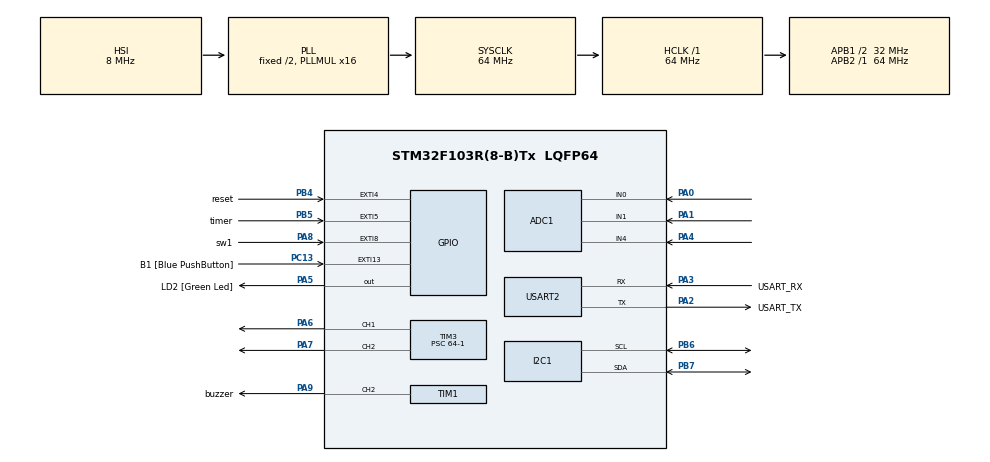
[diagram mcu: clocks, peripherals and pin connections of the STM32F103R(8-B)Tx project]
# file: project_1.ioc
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ADC1.Channel-0\#ChannelRegularConversion=ADC_CHANNEL_0
ADC1.Channel-1\#ChannelRegularConversion=ADC_CHANNEL_1
ADC1.Channel-2\#ChannelRegularConversion=ADC_CHANNEL_4
ADC1.ContinuousConvMode=ENABLE
ADC1.NbrOfConversion=3
ADC1.NbrOfConversionFlag=1
ADC1.Rank-0\#ChannelRegularConversion=1
ADC1.Rank-1\#ChannelRegularConversion=2
ADC1.Rank-2\#ChannelRegularConversion=3
ADC1.SamplingTime-0\#ChannelRegularConversion=ADC_SAMPLETIME_239CYCLES_5
ADC1.SamplingTime-1\#ChannelRegularConversion=ADC_SAMPLETIME_239CYCLES_5
ADC1.SamplingTime-2\#ChannelRegularConversion=ADC_SAMPLETIME_239CYCLES_5
ADC1.master=1
Dma.ADC1.0.Direction=DMA_PERIPH_TO_MEMORY
Dma.ADC1.0.Instance=DMA1_Channel1
Dma.ADC1.0.MemDataAlignment=DMA_MDATAALIGN_WORD
Dma.ADC1.0.MemInc=DMA_MINC_ENABLE
Dma.ADC1.0.Mode=DMA_CIRCULAR
Dma.ADC1.0.PeriphDataAlignment=DMA_PDATAALIGN_WORD
Dma.ADC1.0.PeriphInc=DMA_PINC_DISABLE
Dma.ADC1.0.Priority=DMA_PRIORITY_LOW
Dma.Request0=ADC1
Mcu.Family=STM32F1
Mcu.Name=STM32F103R(8-B)Tx
Mcu.Package=LQFP64
NVIC.DMA1_Channel1_IRQn=true\:0\:0\:false\:false\:true\:false\:true\:true
NVIC.EXTI15_10_IRQn=true\:0\:0\:false\:false\:true\:true\:true\:true
NVIC.EXTI4_IRQn=true\:0\:0\:false\:false\:true\:true\:true\:true
NVIC.EXTI9_5_IRQn=true\:0\:0\:false\:false\:true\:true\:true\:true
NVIC.PriorityGroup=NVIC_PRIORITYGROUP_4
NVIC.TIM2_IRQn=true\:0\:0\:false\:false\:true\:true\:true\:true
NVIC.TIM3_IRQn=true\:0\:0\:false\:false\:true\:true\:true\:true
PA0-WKUP.Signal=ADCx_IN0
PA1.Signal=ADCx_IN1
PA13.GPIO_Label=TMS
PA13.Mode=Serial_Wire
PA13.Signal=SYS_JTMS-SWDIO
PA14.GPIO_Label=TCK
PA14.Mode=Serial_Wire
PA14.Signal=SYS_JTCK-SWCLK
PA2.GPIO_Label=USART_TX
PA2.GPIO_Mode=GPIO_MODE_AF_PP
PA2.GPIO_PuPd=GPIO_NOPULL
PA2.GPIO_Speed=GPIO_SPEED_FREQ_LOW
PA2.Mode=Asynchronous
PA2.Signal=USART2_TX
PA3.GPIO_Label=USART_RX
PA3.GPIO_Mode=GPIO_MODE_AF_PP
PA3.GPIO_PuPd=GPIO_NOPULL
PA3.GPIO_Speed=GPIO_SPEED_FREQ_LOW
PA3.Mode=Asynchronous
PA3.Signal=USART2_RX
PA4.Signal=ADCx_IN4
PA5.GPIO_Label=LD2 [Green Led]
PA5.GPIO_ModeDefaultOutputPP=GPIO_MODE_OUTPUT_PP
PA5.GPIO_PuPd=GPIO_NOPULL
PA5.GPIO_Speed=GPIO_SPEED_FREQ_LOW
PA5.Signal=GPIO_Output
PA6.Signal=S_TIM3_CH1
PA7.Signal=S_TIM3_CH2
PA8.GPIO_Label=sw1
PA8.Signal=GPXTI8
PA9.GPIO_Label=buzzer
PA9.Signal=S_TIM1_CH2
PB3.GPIO_Label=SWO
PB3.Signal=SYS_JTDO-TRACESWO
PB4.GPIO_Label=reset
PB4.Signal=GPXTI4
PB5.GPIO_Label=timer
PB5.GPIO_ModeDefaultEXTI=GPIO_MODE_IT_FALLING
PB5.Signal=GPXTI5
PB6.Mode=I2C
PB6.Signal=I2C1_SCL
PB7.Mode=I2C
PB7.Signal=I2C1_SDA
PC13-TAMPER-RTC.GPIO_Label=B1 [Blue PushButton]
PC13-TAMPER-RTC.GPIO_PuPd=GPIO_NOPULL
PC13-TAMPER-RTC.Signal=GPXTI13
PC14-OSC32_IN.Mode=LSE-External-Oscillator
PC14-OSC32_IN.Signal=RCC_OSC32_IN
PC15-OSC32_OUT.Mode=LSE-External-Oscillator
PC15-OSC32_OUT.Signal=RCC_OSC32_OUT
PD0-OSC_IN.Mode=HSE-External-Clock-Source
PD0-OSC_IN.Signal=RCC_OSC_IN
PD1-OSC_OUT.Mode=HSE-External-Clock-Source
PD1-OSC_OUT.Signal=RCC_OSC_OUT
ProjectManager.HeapSize=0x200
ProjectManager.StackSize=0x400
ProjectManager.TargetToolchain=STM32CubeIDE
RCC.ADCPresc=RCC_ADCPCLK2_DIV8
RCC.AHBFreq_Value=64000000
RCC.APB1CLKDivider=RCC_HCLK_DIV2
RCC.APB1Freq_Value=32000000
RCC.APB1TimFreq_Value=64000000
RCC.APB2Freq_Value=64000000
RCC.APB2TimFreq_Value=64000000
RCC.HCLKFreq_Value=64000000
RCC.PLLMUL=RCC_PLL_MUL16
RCC.RTCClockSelection=RCC_RTCCLKSOURCE_LSE
RCC.SYSCLKFreq_VALUE=64000000
RCC.SYSCLKSource=RCC_SYSCLKSOURCE_PLLCLK
RCC.USBFreq_Value=64000000
SH.ADCx_IN0.0=ADC1_IN0,IN0
SH.ADCx_IN1.0=ADC1_IN1,IN1
SH.ADCx_IN4.0=ADC1_IN4,IN4
SH.S_TIM1_CH2.0=TIM1_CH2,PWM Generation2 CH2
SH.S_TIM3_CH1.0=TIM3_CH1,PWM Generation1 CH1
SH.S_TIM3_CH2.0=TIM3_CH2,PWM Generation2 CH2
TIM1.Channel-PWM\ Generation2\ CH2=TIM_CHANNEL_2
TIM1.OCPolarity_2=TIM_OCPOLARITY_HIGH
TIM1.Period=50000-1
TIM1.Prescaler=640-1
TIM1.Pulse-PWM\ Generation2\ CH2=0
TIM2.Channel-Output\ Compare1\ No\ Output=TIM_CHANNEL_1
TIM2.Period=10000-1
TIM2.Prescaler=6400-1
TIM2.Pulse-Output\ Compare1\ No\ Output=10000-1
TIM3.Channel-PWM\ Generation1\ CH1=TIM_CHANNEL_1
TIM3.Channel-PWM\ Generation2\ CH2=TIM_CHANNEL_2
TIM3.Period=20000-1
TIM3.Prescaler=64-1
TIM3.Pulse-PWM\ Generation1\ CH1=2000-1
TIM3.Pulse-PWM\ Generation2\ CH2=2000-1
USART2.VirtualMode=VM_ASYNC
VP_TIM1_VS_ClockSourceINT.Mode=Internal
VP_TIM2_VS_ClockSourceINT.Mode=Internal
VP_TIM2_VS_no_output1.Mode=Output Compare1 No Output
VP_TIM3_VS_ClockSourceINT.Mode=Internal
board=NUCLEO-F103RB

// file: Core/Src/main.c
/* USER CODE BEGIN Header */
/**
  ******************************************************************************
  * @file           : main.c
  * @brief          : Main program body
  ******************************************************************************
  * @attention
  *
  * Copyright (c) 2022 STMicroelectronics.
  * All rights reserved.
  *
  * This software is licensed under terms that can be found in the LICENSE file
  * in the root directory of this software component.
  * If no LICENSE file comes with this software, it is provided AS-IS.
  *
  ******************************************************************************
  */
/* USER CODE END Header */
#include "main.h"

/* USER CODE BEGIN Includes */
#include "i2c-lcd.h"
#include "stdio.h"
/* USER CODE END Includes */

 ADC_HandleTypeDef hadc1;
DMA_HandleTypeDef hdma_adc1;

I2C_HandleTypeDef hi2c1;

TIM_HandleTypeDef htim1;
TIM_HandleTypeDef htim2;
TIM_HandleTypeDef htim3;

UART_HandleTypeDef huart2;

/* USER CODE BEGIN PV */
//----------------------------------- Gyro sensor------------------------------------
long map(long x, long in_min, long in_max, long out_min, long out_max)
	 {
	  return (x - in_min) * (out_max - out_min) / (in_max - in_min) + out_min;
	 }

int adc_value[3];

int xAng = 0;
int yAng = 0;
int zAng = 0;

void mapping()
{
	xAng = map(adc_value[0], 1554, 2356, -90, 90);
	yAng = map(adc_value[1], 1544, 2378, -90, 90);
	zAng = map(adc_value[2], 1723, 3346, -90, 90);
}

//-------------------------------------------------------------------------------------

//------------------------------------ Count down------------------------------------
uint8_t sec = 15;
uint8_t flag_sw1;
char Sec[10];
//------------------------------------------------------------------------------------

//------------------------------------ Servo motor ------------------------------------
void servoReady()
{
	__HAL_TIM_SetCompare(&htim3, TIM_CHANNEL_1, 1750); //Servo1 1ms PWM - 90defree
	__HAL_TIM_SetCompare(&htim3, TIM_CHANNEL_2, 1250); //setvo2 1ms PWM - 0defree
}

void servoBoom()
{
	__HAL_TIM_SetCompare(&htim3, TIM_CHANNEL_1, 1000);
	__HAL_TIM_SetCompare(&htim3, TIM_CHANNEL_2, 2000);
}
//------------------------------------------------------------------------------------

//-----------------------------------Buzzer------------------------------------------

int time = 10;
int state = 0;

//------------------------------------------------------------------------------------

//------------------------------------------------------------------------------------
void start()
{
	lcd_init();
	HAL_TIM_Base_Start_IT(&htim2); // LCD
	HAL_TIM_OC_Start_IT(&htim2, TIM_CHANNEL_1); // LCD
	HAL_TIM_PWM_Start_IT(&htim1, TIM_CHANNEL_2); // buzzer
	HAL_TIM_PWM_Start(&htim3, TIM_CHANNEL_1); // setvo1 motor
	HAL_TIM_PWM_Start(&htim3, TIM_CHANNEL_2); // setvo2 motor
	HAL_ADC_Start_DMA(&hadc1, adc_value, 3); // Gyro
}
//------------------------------------------------------------------------------------

/* USER CODE END PV */

void SystemClock_Config(void);
static void MX_GPIO_Init(void);
static void MX_USART2_UART_Init(void);
static void MX_I2C1_Init(void);
static void MX_DMA_Init(void);
static void MX_TIM3_Init(void);
static void MX_ADC1_Init(void);
static void MX_TIM2_Init(void);
static void MX_TIM1_Init(void);

/* USER CODE BEGIN 0 */

//---------------------------------------- putty------------------------------------
#ifdef __GNUC__
/* With GCC, small printf (option LD Linker->Libraries->Small printf
   set to 'Yes') calls __io_putchar() */
#define PUTCHAR_PROTOTYPE int __io_putchar(int ch)
#else
#define PUTCHAR_PROTOTYPE int fputc(int ch, FILE *f)
#endif /* __GNUC__ */

PUTCHAR_PROTOTYPE
{
  /* Place your implementation of fputc here */
  /* e.g. write a character to the USART1 and Loop until the end of transmission */
  HAL_UART_Transmit(&huart2, (uint8_t *)&ch, 1, 0xFFFF);

  return ch;
}

//------------------------------------------------------------------------------

/* USER CODE END 0 */

int main(void)
{

  /* MCU Configuration--------------------------------------------------------*/

  /* Reset of all peripherals, Initializes the Flash interface and the Systick. */
  HAL_Init();

  /* Configure the system clock */
  SystemClock_Config();

  /* Initialize all configured peripherals */
  MX_GPIO_Init();
  MX_USART2_UART_Init();
  MX_I2C1_Init();
  MX_DMA_Init();
  MX_TIM3_Init();
  MX_ADC1_Init();
  MX_TIM2_Init();
  MX_TIM1_Init();
  /* USER CODE BEGIN 2 */

  start();
  servoReady();

  /* USER CODE END 2 */

  /* Infinite loop */
  /* USER CODE BEGIN WHILE */
  while (1)
  {
	  //-------------------------------- Gyro -----------
	  mapping(); //Gyro mappoing

	  printf("X_Value : %ld, Y_Value : %ld,  Z_Value : %ld\r\n", xAng, yAng, zAng); //putty
	  HAL_Delay(200);

	  if(xAng > 80) //Gyro -> count down start
	  {
		  flag_sw1 = 1;
	  }
	  //--------------------------------------------------

    /* USER CODE END WHILE */

  }
}

void SystemClock_Config(void)
{
  RCC_OscInitTypeDef RCC_OscInitStruct = {0};
  RCC_ClkInitTypeDef RCC_ClkInitStruct = {0};
  RCC_PeriphCLKInitTypeDef PeriphClkInit = {0};

  /** Initializes the RCC Oscillators according to the specified parameters
  * in the RCC_OscInitTypeDef structure.
  */
  RCC_OscInitStruct.OscillatorType = RCC_OSCILLATORTYPE_HSI;
  RCC_OscInitStruct.HSIState = RCC_HSI_ON;
  RCC_OscInitStruct.HSICalibrationValue = RCC_HSICALIBRATION_DEFAULT;
  RCC_OscInitStruct.PLL.PLLState = RCC_PLL_ON;
  RCC_OscInitStruct.PLL.PLLSource = RCC_PLLSOURCE_HSI_DIV2;
  RCC_OscInitStruct.PLL.PLLMUL = RCC_PLL_MUL16;
  if (HAL_RCC_OscConfig(&RCC_OscInitStruct) != HAL_OK)
  {
    Error_Handler();
  }

  /** Initializes the CPU, AHB and APB buses clocks
  */
  RCC_ClkInitStruct.ClockType = RCC_CLOCKTYPE_HCLK|RCC_CLOCKTYPE_SYSCLK
                              |RCC_CLOCKTYPE_PCLK1|RCC_CLOCKTYPE_PCLK2;
  RCC_ClkInitStruct.SYSCLKSource = RCC_SYSCLKSOURCE_PLLCLK;
  RCC_ClkInitStruct.AHBCLKDivider = RCC_SYSCLK_DIV1;
  RCC_ClkInitStruct.APB1CLKDivider = RCC_HCLK_DIV2;
  RCC_ClkInitStruct.APB2CLKDivider = RCC_HCLK_DIV1;

  if (HAL_RCC_ClockConfig(&RCC_ClkInitStruct, FLASH_LATENCY_2) != HAL_OK)
  {
    Error_Handler();
  }
  PeriphClkInit.PeriphClockSelection = RCC_PERIPHCLK_ADC;
  PeriphClkInit.AdcClockSelection = RCC_ADCPCLK2_DIV8;
  if (HAL_RCCEx_PeriphCLKConfig(&PeriphClkInit) != HAL_OK)
  {
    Error_Handler();
  }
}

static void MX_ADC1_Init(void)
{

  ADC_ChannelConfTypeDef sConfig = {0};

  /** Common config
  */
  hadc1.Instance = ADC1;
  hadc1.Init.ScanConvMode = ADC_SCAN_ENABLE;
  hadc1.Init.ContinuousConvMode = ENABLE;
  hadc1.Init.DiscontinuousConvMode = DISABLE;
  hadc1.Init.ExternalTrigConv = ADC_SOFTWARE_START;
  hadc1.Init.DataAlign = ADC_DATAALIGN_RIGHT;
  hadc1.Init.NbrOfConversion = 3;
  if (HAL_ADC_Init(&hadc1) != HAL_OK)
  {
    Error_Handler();
  }

  /** Configure Regular Channel
  */
  sConfig.Channel = ADC_CHANNEL_0;
  sConfig.Rank = ADC_REGULAR_RANK_1;
  sConfig.SamplingTime = ADC_SAMPLETIME_239CYCLES_5;
  if (HAL_ADC_ConfigChannel(&hadc1, &sConfig) != HAL_OK)
  {
    Error_Handler();
  }

  /** Configure Regular Channel
  */
  sConfig.Channel = ADC_CHANNEL_1;
  sConfig.Rank = ADC_REGULAR_RANK_2;
  if (HAL_ADC_ConfigChannel(&hadc1, &sConfig) != HAL_OK)
  {
    Error_Handler();
  }

  /** Configure Regular Channel
  */
  sConfig.Channel = ADC_CHANNEL_4;
  sConfig.Rank = ADC_REGULAR_RANK_3;
  if (HAL_ADC_ConfigChannel(&hadc1, &sConfig) != HAL_OK)
  {
    Error_Handler();
  }

}

static void MX_I2C1_Init(void)
{

  hi2c1.Instance = I2C1;
  hi2c1.Init.ClockSpeed = 100000;
  hi2c1.Init.DutyCycle = I2C_DUTYCYCLE_2;
  hi2c1.Init.OwnAddress1 = 0;
  hi2c1.Init.AddressingMode = I2C_ADDRESSINGMODE_7BIT;
  hi2c1.Init.DualAddressMode = I2C_DUALADDRESS_DISABLE;
  hi2c1.Init.OwnAddress2 = 0;
  hi2c1.Init.GeneralCallMode = I2C_GENERALCALL_DISABLE;
  hi2c1.Init.NoStretchMode = I2C_NOSTRETCH_DISABLE;
  if (HAL_I2C_Init(&hi2c1) != HAL_OK)
  {
    Error_Handler();
  }

}

static void MX_TIM1_Init(void)
{

  TIM_ClockConfigTypeDef sClockSourceConfig = {0};
  TIM_MasterConfigTypeDef sMasterConfig = {0};
  TIM_OC_InitTypeDef sConfigOC = {0};
  TIM_BreakDeadTimeConfigTypeDef sBreakDeadTimeConfig = {0};

  htim1.Instance = TIM1;
  htim1.Init.Prescaler = 640-1;
  htim1.Init.CounterMode = TIM_COUNTERMODE_UP;
  htim1.Init.Period = 50000-1;
  htim1.Init.ClockDivision = TIM_CLOCKDIVISION_DIV1;
  htim1.Init.RepetitionCounter = 0;
  htim1.Init.AutoReloadPreload = TIM_AUTORELOAD_PRELOAD_DISABLE;
  if (HAL_TIM_Base_Init(&htim1) != HAL_OK)
  {
    Error_Handler();
  }
  sClockSourceConfig.ClockSource = TIM_CLOCKSOURCE_INTERNAL;
  if (HAL_TIM_ConfigClockSource(&htim1, &sClockSourceConfig) != HAL_OK)
  {
    Error_Handler();
  }
  if (HAL_TIM_PWM_Init(&htim1) != HAL_OK)
  {
    Error_Handler();
  }
  sMasterConfig.MasterOutputTrigger = TIM_TRGO_RESET;
  sMasterConfig.MasterSlaveMode = TIM_MASTERSLAVEMODE_DISABLE;
  if (HAL_TIMEx_MasterConfigSynchronization(&htim1, &sMasterConfig) != HAL_OK)
  {
    Error_Handler();
  }
  sConfigOC.OCMode = TIM_OCMODE_PWM1;
  sConfigOC.Pulse = 0;
  sConfigOC.OCPolarity = TIM_OCPOLARITY_HIGH;
  sConfigOC.OCNPolarity = TIM_OCNPOLARITY_HIGH;
  sConfigOC.OCFastMode = TIM_OCFAST_DISABLE;
  sConfigOC.OCIdleState = TIM_OCIDLESTATE_RESET;
  sConfigOC.OCNIdleState = TIM_OCNIDLESTATE_RESET;
  if (HAL_TIM_PWM_ConfigChannel(&htim1, &sConfigOC, TIM_CHANNEL_2) != HAL_OK)
  {
    Error_Handler();
  }
  sBreakDeadTimeConfig.OffStateRunMode = TIM_OSSR_DISABLE;
  sBreakDeadTimeConfig.OffStateIDLEMode = TIM_OSSI_DISABLE;
  sBreakDeadTimeConfig.LockLevel = TIM_LOCKLEVEL_OFF;
  sBreakDeadTimeConfig.DeadTime = 0;
  sBreakDeadTimeConfig.BreakState = TIM_BREAK_DISABLE;
  sBreakDeadTimeConfig.BreakPolarity = TIM_BREAKPOLARITY_HIGH;
  sBreakDeadTimeConfig.AutomaticOutput = TIM_AUTOMATICOUTPUT_DISABLE;
  if (HAL_TIMEx_ConfigBreakDeadTime(&htim1, &sBreakDeadTimeConfig) != HAL_OK)
  {
    Error_Handler();
  }
  HAL_TIM_MspPostInit(&htim1);

}

static void MX_TIM2_Init(void)
{

  TIM_ClockConfigTypeDef sClockSourceConfig = {0};
  TIM_MasterConfigTypeDef sMasterConfig = {0};
  TIM_OC_InitTypeDef sConfigOC = {0};

  htim2.Instance = TIM2;
  htim2.Init.Prescaler = 6400-1;
  htim2.Init.CounterMode = TIM_COUNTERMODE_UP;
  htim2.Init.Period = 10000-1;
  htim2.Init.ClockDivision = TIM_CLOCKDIVISION_DIV1;
  htim2.Init.AutoReloadPreload = TIM_AUTORELOAD_PRELOAD_DISABLE;
  if (HAL_TIM_Base_Init(&htim2) != HAL_OK)
  {
    Error_Handler();
  }
  sClockSourceConfig.ClockSource = TIM_CLOCKSOURCE_INTERNAL;
  if (HAL_TIM_ConfigClockSource(&htim2, &sClockSourceConfig) != HAL_OK)
  {
    Error_Handler();
  }
  if (HAL_TIM_OC_Init(&htim2) != HAL_OK)
  {
    Error_Handler();
  }
  sMasterConfig.MasterOutputTrigger = TIM_TRGO_RESET;
  sMasterConfig.MasterSlaveMode = TIM_MASTERSLAVEMODE_DISABLE;
  if (HAL_TIMEx_MasterConfigSynchronization(&htim2, &sMasterConfig) != HAL_OK)
  {
    Error_Handler();
  }
  sConfigOC.OCMode = TIM_OCMODE_TIMING;
  sConfigOC.Pulse = 10000-1;
  sConfigOC.OCPolarity = TIM_OCPOLARITY_HIGH;
  sConfigOC.OCFastMode = TIM_OCFAST_DISABLE;
  if (HAL_TIM_OC_ConfigChannel(&htim2, &sConfigOC, TIM_CHANNEL_1) != HAL_OK)
  {
    Error_Handler();
  }

}

static void MX_TIM3_Init(void)
{

  TIM_ClockConfigTypeDef sClockSourceConfig = {0};
  TIM_MasterConfigTypeDef sMasterConfig = {0};
  TIM_OC_InitTypeDef sConfigOC = {0};

  htim3.Instance = TIM3;
  htim3.Init.Prescaler = 64-1;
  htim3.Init.CounterMode = TIM_COUNTERMODE_UP;
  htim3.Init.Period = 20000-1;
  htim3.Init.ClockDivision = TIM_CLOCKDIVISION_DIV1;
  htim3.Init.AutoReloadPreload = TIM_AUTORELOAD_PRELOAD_DISABLE;
  if (HAL_TIM_Base_Init(&htim3) != HAL_OK)
  {
    Error_Handler();
  }
  sClockSourceConfig.ClockSource = TIM_CLOCKSOURCE_INTERNAL;
  if (HAL_TIM_ConfigClockSource(&htim3, &sClockSourceConfig) != HAL_OK)
  {
    Error_Handler();
  }
  if (HAL_TIM_PWM_Init(&htim3) != HAL_OK)
  {
    Error_Handler();
  }
  sMasterConfig.MasterOutputTrigger = TIM_TRGO_RESET;
  sMasterConfig.MasterSlaveMode = TIM_MASTERSLAVEMODE_DISABLE;
  if (HAL_TIMEx_MasterConfigSynchronization(&htim3, &sMasterConfig) != HAL_OK)
  {
    Error_Handler();
  }
  sConfigOC.OCMode = TIM_OCMODE_PWM1;
  sConfigOC.Pulse = 2000-1;
  sConfigOC.OCPolarity = TIM_OCPOLARITY_HIGH;
  sConfigOC.OCFastMode = TIM_OCFAST_DISABLE;
  if (HAL_TIM_PWM_ConfigChannel(&htim3, &sConfigOC, TIM_CHANNEL_1) != HAL_OK)
  {
    Error_Handler();
  }
  if (HAL_TIM_PWM_ConfigChannel(&htim3, &sConfigOC, TIM_CHANNEL_2) != HAL_OK)
  {
    Error_Handler();
  }
  HAL_TIM_MspPostInit(&htim3);

}

static void MX_USART2_UART_Init(void)
{

  huart2.Instance = USART2;
  huart2.Init.BaudRate = 115200;
  huart2.Init.WordLength = UART_WORDLENGTH_8B;
  huart2.Init.StopBits = UART_STOPBITS_1;
  huart2.Init.Parity = UART_PARITY_NONE;
  huart2.Init.Mode = UART_MODE_TX_RX;
  huart2.Init.HwFlowCtl = UART_HWCONTROL_NONE;
  huart2.Init.OverSampling = UART_OVERSAMPLING_16;
  if (HAL_UART_Init(&huart2) != HAL_OK)
  {
    Error_Handler();
  }

}

static void MX_DMA_Init(void)
{

  /* DMA controller clock enable */
  __HAL_RCC_DMA1_CLK_ENABLE();

  /* DMA interrupt init */
  /* DMA1_Channel1_IRQn interrupt configuration */
  HAL_NVIC_SetPriority(DMA1_Channel1_IRQn, 0, 0);
  HAL_NVIC_EnableIRQ(DMA1_Channel1_IRQn);

}

static void MX_GPIO_Init(void)
{
  GPIO_InitTypeDef GPIO_InitStruct = {0};

  /* GPIO Ports Clock Enable */
  __HAL_RCC_GPIOC_CLK_ENABLE();
  __HAL_RCC_GPIOD_CLK_ENABLE();
  __HAL_RCC_GPIOA_CLK_ENABLE();
  __HAL_RCC_GPIOB_CLK_ENABLE();

  /*Configure GPIO pin Output Level */
  HAL_GPIO_WritePin(LD2_GPIO_Port, LD2_Pin, GPIO_PIN_RESET);

  /*Configure GPIO pin : B1_Pin */
  GPIO_InitStruct.Pin = B1_Pin;
  GPIO_InitStruct.Mode = GPIO_MODE_IT_RISING;
  GPIO_InitStruct.Pull = GPIO_NOPULL;
  HAL_GPIO_Init(B1_GPIO_Port, &GPIO_InitStruct);

  /*Configure GPIO pin : LD2_Pin */
  GPIO_InitStruct.Pin = LD2_Pin;
  GPIO_InitStruct.Mode = GPIO_MODE_OUTPUT_PP;
  GPIO_InitStruct.Pull = GPIO_NOPULL;
  GPIO_InitStruct.Speed = GPIO_SPEED_FREQ_LOW;
  HAL_GPIO_Init(LD2_GPIO_Port, &GPIO_InitStruct);

  /*Configure GPIO pin : sw1_Pin */
  GPIO_InitStruct.Pin = sw1_Pin;
  GPIO_InitStruct.Mode = GPIO_MODE_IT_RISING;
  GPIO_InitStruct.Pull = GPIO_NOPULL;
  HAL_GPIO_Init(sw1_GPIO_Port, &GPIO_InitStruct);

  /*Configure GPIO pin : reset_Pin */
  GPIO_InitStruct.Pin = reset_Pin;
  GPIO_InitStruct.Mode = GPIO_MODE_IT_RISING;
  GPIO_InitStruct.Pull = GPIO_NOPULL;
  HAL_GPIO_Init(reset_GPIO_Port, &GPIO_InitStruct);

  /* EXTI interrupt init*/
  HAL_NVIC_SetPriority(EXTI4_IRQn, 0, 0);
  HAL_NVIC_EnableIRQ(EXTI4_IRQn);

  HAL_NVIC_SetPriority(EXTI9_5_IRQn, 0, 0);
  HAL_NVIC_EnableIRQ(EXTI9_5_IRQn);

  HAL_NVIC_SetPriority(EXTI15_10_IRQn, 0, 0);
  HAL_NVIC_EnableIRQ(EXTI15_10_IRQn);

}

void HAL_GPIO_EXTI_Callback(uint16_t GPIO_Pin)
{
	if(GPIO_Pin == sw1_Pin)
	{
		flag_sw1 = 1;
		sec = 15;
		//------------ servo reset
		servoReady();
		//------------------
	}

	if(GPIO_Pin == reset_Pin)
	{
		flag_sw1 = 0;
		sec = 15;
		//------------ servo reset
		servoReady();
		//------------------
	}

}
void HAL_TIM_PeriodElapsedCallback(TIM_HandleTypeDef *htim)
{
		lcd_put_cur(0, 0);
		lcd_send_string("STATUS:");
		lcd_put_cur(0, 7);
		lcd_send_string("READY....");

		if(flag_sw1 == 1)
		{
			if(sec > 0)
			{
				sec--;
				lcd_put_cur(0, 7);
				lcd_send_string("COUNTDOWN");
			}

			else if (sec ==0)
			{
				lcd_put_cur(0, 7);
				lcd_send_string("!!BOOOM!!");
				sec = 0;
				//------------ servo
				servoBoom();
				//------------------
			}
		}
}

void HAL_TIM_OC_DelayElapsedCallback(TIM_HandleTypeDef *htim)
{

		lcd_put_cur(1,0);
		sprintf(Sec,"TIME:%02d",sec);
		lcd_send_string(Sec);
}

void HAL_TIM_PWM_PulseFinishedCallback(TIM_HandleTypeDef *htim)
{
	if((sec <= 14)&&(sec>7))
	{
		TIM1->CCR2 = 5000-1;
		GPIOA->BSRR = 0xffff;
		TIM1->ARR -= 2000;
	}
	if((sec <= 7)&&(sec>0))
	{
		TIM1->ARR -= 4500;
	}
	if(sec == 0)
		{
		TIM1->CCR2 = 0;
		TIM1->ARR = 50000-1;
		}
}

/* USER CODE END 4 */

void Error_Handler(void)
{
  __disable_irq();
  while (1)
  {
  }
}
